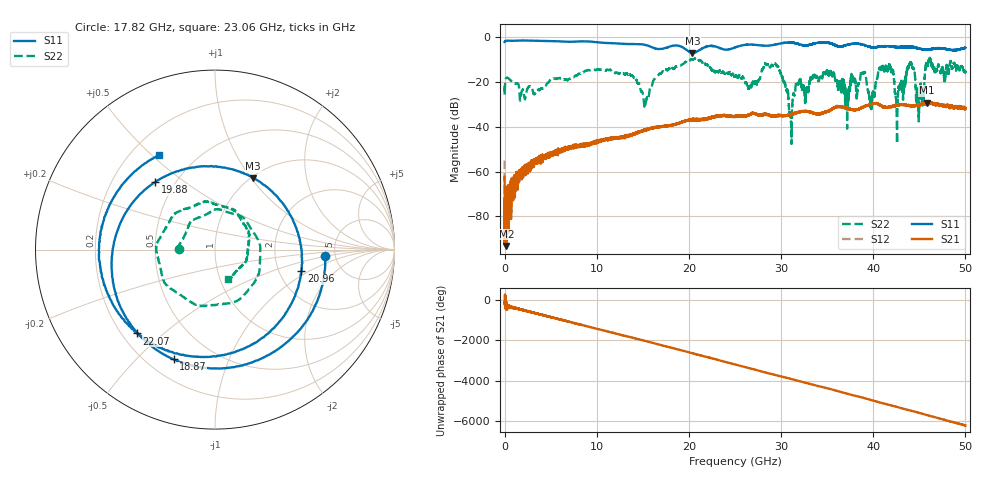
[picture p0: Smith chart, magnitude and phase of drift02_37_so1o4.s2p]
!Created with skrf (http://scikit-rf.org).
# Hz S RI R 50.0
!freq ReS11 ImS11 ReS21 ImS21 ReS12 ImS12 ReS22 ImS22
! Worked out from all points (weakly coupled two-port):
!   10001 points, 300 kHz to 50 GHz, reference 50 ohm
!   highest |S21| = -29.13 dB at 45.79 GHz (marker M1); lowest = -93.3 dB at 205.3 MHz (marker M2)
!   lowest |S11| = -6.9 dB at 20.38 GHz (marker M3), VSWR 2.64, Z = 51.3 + j51 ohm
!   |S11| at or under -10 dB: nowhere
!   |S22| runs from -47.7 to -9.1 dB; largest |S21 - S12| = 0.0032
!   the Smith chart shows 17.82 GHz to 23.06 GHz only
!   S11 on the Smith chart (normalised r, x): 17.82 GHz: 4.15, -0.51; 18.87 GHz: 0.30, -0.65; 19.88 GHz: 0.39, +0.39; 20.96 GHz: 2.65, -0.84; 22.07 GHz: 0.26, -0.41; 23.06 GHz: 0.31, +0.53
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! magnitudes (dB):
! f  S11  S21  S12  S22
! 300 kHz  -2.1  -62.3  -55.1  -21.7
! 205.3 MHz  -1.4  -93.3  -87.6  -18.1
! 8.335 GHz  -1.7  -48.5  -48.6  -15.7
! 15.32 GHz  -3.4  -41.3  -41.1  -29.2
! 16.67 GHz  -5.2  -40.2  -40.2  -17.0
! 17.82 GHz  -4.2  -39.3  -39.5  -14.0
! 18.87 GHz  -3.7  -38.5  -38.5  -12.6
! 19.88 GHz  -6.0  -37.0  -37.1  -10.2
! 20.38 GHz  -6.9  -36.5  -36.4  -10.0
! 20.96 GHz  -6.1  -36.9  -37.1  -9.7
! 22.07 GHz  -3.9  -36.6  -36.3  -12.6
! 23.06 GHz  -4.3  -35.4  -35.4  -14.9
! 25 GHz  -4.5  -35.2  -35.5  -17.4
! 29.51 GHz  -3.1  -35.0  -35.2  -12.6
! 31.03 GHz  -2.2  -34.4  -34.7  -35.1
! 33.34 GHz  -3.0  -33.7  -33.4  -18.3
! 38.92 GHz  -3.3  -31.1  -31.1  -16.1
! 39.78 GHz  -4.4  -30.0  -30.0  -31.0
! 41.67 GHz  -3.9  -31.0  -31.2  -13.7
! 42.56 GHz  -4.3  -30.2  -30.2  -39.1
! 45.79 GHz  -5.4  -29.1  -29.4  -11.8
! 50 GHz  -4.6  -31.8  -31.6  -15.5
